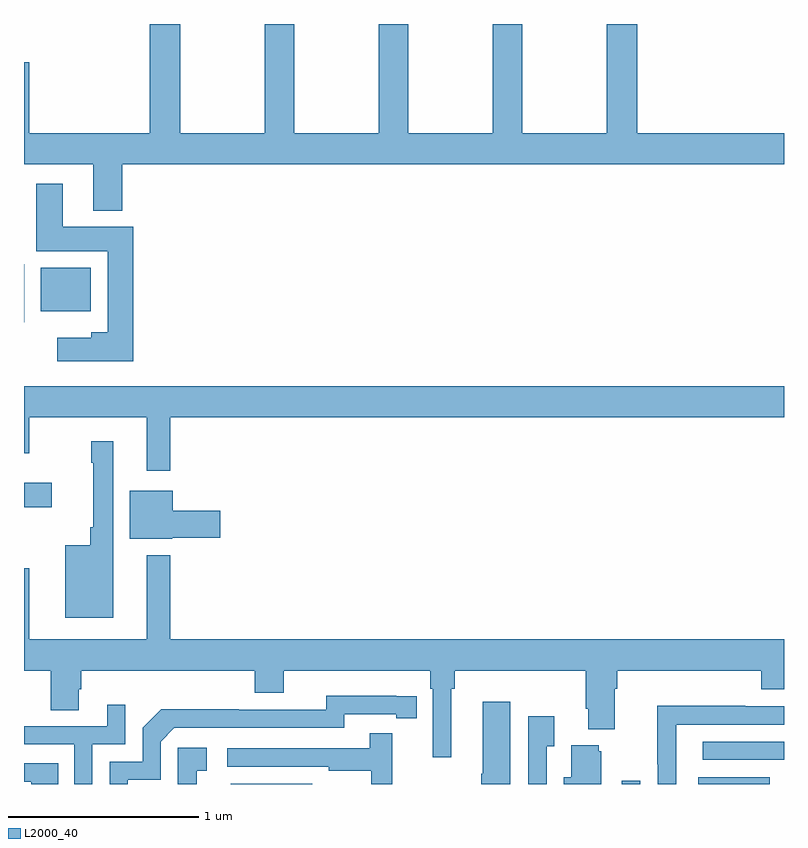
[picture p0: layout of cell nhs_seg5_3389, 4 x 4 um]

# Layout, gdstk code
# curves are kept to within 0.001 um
import gdstk
lib = gdstk.Library(unit=1e-6, precision=1e-09)
def R(c, l, rs):  # rectangles x0, y0, x1, y1
    for r in rs: c.add(gdstk.rectangle(r[:2], r[2:], *l))
def P(c, l, *ps):  # polygons
    for p in ps: c.add(gdstk.Polygon(p, *l))
L2000_40 = (2000, 40)

nhs_seg5_3389 = lib.new_cell('nhs_seg5_3389')
R(nhs_seg5_3389, L2000_40, [(310.088,886.799,310.516,886.801), (312.147,886.799,312.243,886.816), (312.548,886.799,312.926,886.834), (312.573,886.926,313,887.022), (309,888.256,309.145,888.385), (309,889.229,309.001,889.534), (309.089,889.286,309.352,889.516)])
P(nhs_seg5_3389, L2000_40, [(309.518,890.06),(313,890.06),(313,890.224),(312.227,890.224),(312.227,890.799),(312.067,890.799),(312.067,890.224),(311.622,890.224),(311.622,890.799),(311.467,890.799),(311.467,890.224),(311.022,890.224),(311.022,890.799),(310.867,890.799),(310.867,890.224),(310.422,890.224),(310.422,890.799),(310.267,890.799),(310.267,890.224),(309.822,890.224),(309.822,890.799),(309.662,890.799),(309.662,890.224),(309.028,890.224),(309.028,890.599),(309,890.599),(309,890.06),(309.365,890.06),(309.365,889.817),(309.518,889.817)],
  [(309.575,889.732),(309.205,889.732),(309.205,889.957),(309.065,889.957),(309.065,889.604),(309.44,889.604),(309.44,889.177),(309.353,889.177),(309.353,889.147),(309.174,889.147),(309.174,889.025),(309.575,889.025)],
  [(309.769,888.728),(313,888.728),(313,888.892),(309,888.892),(309,888.54),(309.028,888.54),(309.028,888.728),(309.647,888.728),(309.647,888.447),(309.769,888.447)],
  [(309.469,888.604),(309.355,888.604),(309.355,888.491),(309.365,888.491),(309.365,888.151),(309.348,888.151),(309.348,888.055),(309.218,888.055),(309.218,887.675),(309.469,887.675)],
  [(309.78,888.095),(310.033,888.095),(310.033,888.237),(309.784,888.237),(309.784,888.343),(309.557,888.343),(309.557,888.089),(309.78,888.089)],
  [(311.248,887.3),(311.267,887.3),(311.267,887.396),(311.957,887.396),(311.957,887.194),(311.969,887.194),(311.969,887.087),(312.109,887.087),(312.109,887.3),(312.122,887.3),(312.122,887.396),(312.881,887.396),(312.881,887.297),(313,887.297),(313,887.56),(309.769,887.56),(309.769,888.004),(309.647,888.004),(309.647,887.56),(309.028,887.56),(309.028,887.935),(309,887.935),(309,887.396),(309.142,887.396),(309.142,887.188),(309.289,887.188),(309.289,887.298),(309.302,887.298),(309.302,887.396),(310.214,887.396),(310.214,887.279),(310.366,887.279),(310.366,887.396),(311.138,887.396),(311.138,887.3),(311.151,887.3),(311.151,886.941),(311.248,886.941)],
  [(309.547,886.821),(309.72,886.821),(309.72,887.022),(309.792,887.094),(310.686,887.094),(310.686,887.166),(310.958,887.166),(310.958,887.146),(311.066,887.146),(311.066,887.262),(310.59,887.263),(310.59,887.19),(310.13,887.19),(310.13,887.192),(309.722,887.192),(309.624,887.094),(309.624,886.917),(309.45,886.917),(309.45,886.799),(309.547,886.799)],
  [(311.56,887.233),(311.414,887.233),(311.414,886.853),(311.407,886.853),(311.407,886.799),(311.56,886.799)],
  [(309.36,887.007),(309.534,887.007),(309.534,887.215),(309.437,887.215),(309.437,887.103),(309,887.103),(309,887.007),(309.264,887.007),(309.264,886.799),(309.36,886.799)],
  [(312.432,887.112),(313,887.112),(313,887.208),(312.797,887.208),(312.797,887.21),(312.334,887.21),(312.334,886.903),(312.336,886.903),(312.336,886.799),(312.432,886.799)],
  [(311.751,886.999),(311.791,886.999),(311.791,887.155),(311.655,887.155),(311.655,886.799),(311.751,886.799)],
  [(310.937,887.065),(310.819,887.065),(310.819,886.986),(310.071,886.986),(310.071,886.89),(310.603,886.89),(310.603,886.87),(310.827,886.87),(310.827,886.799),(310.937,886.799)],
  [(312.037,886.971),(312.026,886.971),(312.026,887.002),(311.879,887.002),(311.879,886.834),(311.84,886.834),(311.84,886.799),(312.037,886.799)],
  [(309.908,886.869),(309.961,886.869),(309.961,886.99),(309.81,886.99),(309.81,886.799),(309.908,886.799)],
  [(309.179,886.908),(309,886.908),(309,886.812),(309.039,886.812),(309.039,886.799),(309.179,886.799)])

lib.write_gds('nhs_seg5_3389.gds')
